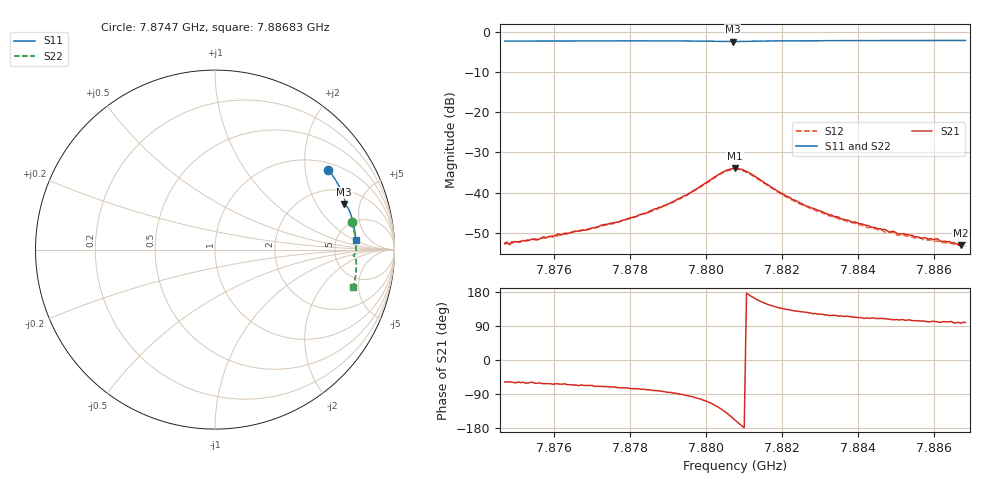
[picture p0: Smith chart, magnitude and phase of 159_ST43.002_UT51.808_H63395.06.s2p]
#  HZ  S  DB  R  50.00
! Rohde & Schwarz Vector Network Analyzer
! Rohde-Schwarz,ZNB20-2Port,1311601062101988,3.16
! Created: UTC 1/12/2023, 6:41:08 PM
! freq[Hz]  db:S11  ang:S11  db:S21  ang:S21  db:S12  ang:S12  db:S22  ang:S22
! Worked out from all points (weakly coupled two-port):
!   201 points, 7.8747 GHz to 7.88683 GHz, reference 50 ohm
!   highest |S21| = -33.95 dB at 7.88077 GHz (marker M1); lowest = -53.1 dB at 7.88671 GHz (marker M2)
!   lowest |S11| = -2.4 dB at 7.8807 GHz (marker M3), VSWR 7.42, Z = 148 + j178 ohm
!   |S11| at or under -10 dB: nowhere
!   |S22| runs from -2.3 to -1.9 dB; largest |S21 - S12| = 0.0013
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7.8747e9  -2.24 35.3  -52.57 -58.3  -53.01 -61.0  -2.19 11.3
7.87476e9  -2.24 35.1  -52.53 -57.3  -52.31 -60.9  -2.19 11.1
7.874821e9  -2.24 34.9  -52.96 -58.4  -53.06 -61.5  -2.18 11.0
7.874882e9  -2.24 34.8  -52.33 -58.2  -52.71 -60.3  -2.18 10.9
7.875549e9  -2.23 32.9  -51.81 -61.3  -51.64 -64.0  -2.16 9.2
7.876762e9  -2.21 29.6  -49.35 -66.6  -49.34 -70.7  -2.13 6.4
7.878157e9  -2.19 25.8  -46.03 -76.2  -45.98 -79.6  -2.09 3.1
7.878764e9  -2.19 24.1  -43.64 -81.6  -43.86 -85.1  -2.09 1.7
7.879491e9  -2.20 22.0  -40.63 -93.4  -40.67 -96.6  -2.10 -0.1
7.880341e9  -2.30 19.7  -35.45 -125.4  -35.68 -128.7  -2.19 -2.1
7.880704e9  -2.35 19.2  -34.06 -152.9  -34.23 -156.4  -2.25 -2.4
7.880765e9  -2.35 19.2  -33.95 -158.4  -34.17 -161.7  -2.26 -2.5
7.881129e9  -2.30 18.9  -35.02 172.2  -35.21 168.7  -2.21 -2.6
7.882099e9  -2.17 16.3  -40.80 133.7  -41.01 130.8  -2.06 -4.6
7.882827e9  -2.14 14.3  -43.93 121.8  -44.21 119.7  -2.02 -6.4
7.88398e9  -2.12 11.2  -47.56 112.4  -48.01 109.3  -1.99 -9.0
7.884829e9  -2.11 8.9  -49.90 107.4  -49.84 103.9  -1.97 -10.9
7.885072e9  -2.10 8.3  -50.29 105.6  -50.71 104.0  -1.97 -11.4
7.885132e9  -2.10 8.1  -50.32 106.3  -50.32 102.8  -1.97 -11.6
7.886103e9  -2.09 5.6  -51.56 100.6  -52.09 99.1  -1.96 -13.7
7.886709e9  -2.09 4.0  -53.13 97.1  -52.94 94.9  -1.95 -15.0
7.88683e9  -2.08 3.7  -52.46 99.1  -53.36 93.5  -1.95 -15.3
